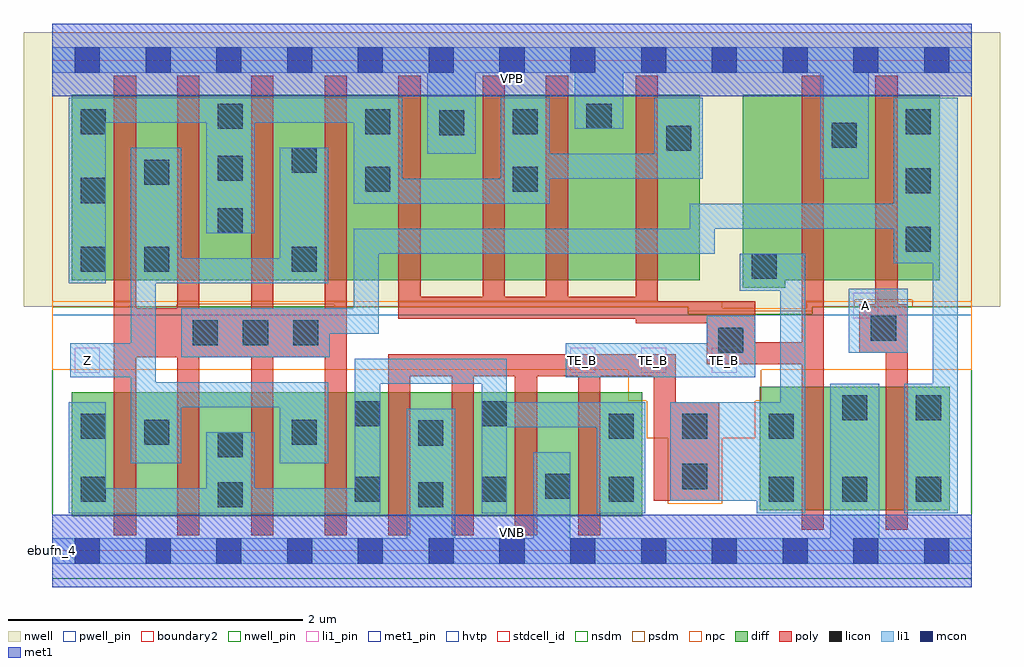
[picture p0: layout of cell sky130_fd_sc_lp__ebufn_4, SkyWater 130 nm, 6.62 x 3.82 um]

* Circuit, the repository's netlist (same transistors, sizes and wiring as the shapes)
* Copyright 2020 The SkyWater PDK Authors
*
* Licensed under the Apache License, Version 2.0 (the "License");
* you may not use this file except in compliance with the License.
* You may obtain a copy of the License at
*
*     https://www.apache.org/licenses/LICENSE-2.0
*
* Unless required by applicable law or agreed to in writing, software
* distributed under the License is distributed on an "AS IS" BASIS,
* WITHOUT WARRANTIES OR CONDITIONS OF ANY KIND, either express or implied.
* See the License for the specific language governing permissions and
* limitations under the License.
*
* SPDX-License-Identifier: Apache-2.0

.SUBCKT sky130_fd_sc_lp__ebufn_4 A TE_B VGND VNB VPB VPWR Z
*.PININFO A:I TE_B:I VGND:I VNB:I VPB:I VPWR:I Z:O
MMN0 Z net39 sndA VNB sky130_fd_pr__nfet_01v8 m=4 w=0.84U l=0.15U mult=1 sa=0.265
+ sb=0.265 sd=0.28 area=0.063 perim=1.14
MMN1 sndA net43 VGND VNB sky130_fd_pr__nfet_01v8 m=4 w=0.84U l=0.15U mult=1 sa=0.265
+ sb=0.265 sd=0.28 area=0.063 perim=1.14
MMIN1 net43 TE_B VGND VNB sky130_fd_pr__nfet_01v8 m=1 w=0.84U l=0.15U mult=1 sa=0.265
+ sb=0.265 sd=0.28 area=0.063 perim=1.14
MI6 net39 A VGND VNB sky130_fd_pr__nfet_01v8 m=1 w=0.84U l=0.15U mult=1 sa=0.265
+ sb=0.265 sd=0.28 area=0.063 perim=1.14
MMP0 VPWR TE_B sndTEB VPB sky130_fd_pr__pfet_01v8_hvt m=4 w=1.26U l=0.15U mult=1
+ sa=0.265 sb=0.265 sd=0.28 area=0.063 perim=1.14
MMP1 sndTEB net39 Z VPB sky130_fd_pr__pfet_01v8_hvt m=4 w=1.26U l=0.15U mult=1
+ sa=0.265 sb=0.265 sd=0.28 area=0.063 perim=1.14
MMIP1 net43 TE_B VPWR VPB sky130_fd_pr__pfet_01v8_hvt m=1 w=1.26U l=0.15U mult=1
+ sa=0.265 sb=0.265 sd=0.28 area=0.063 perim=1.14
MI5 net39 A VPWR VPB sky130_fd_pr__pfet_01v8_hvt m=1 w=1.26U l=0.15U mult=1 sa=0.265
+ sb=0.265 sd=0.28 area=0.063 perim=1.14
.ENDS sky130_fd_sc_lp__ebufn_4

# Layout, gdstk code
import gdstk
lib = gdstk.Library(unit=1e-6, precision=1e-09)
def R(c, l, rs):  # rectangles x0, y0, x1, y1
    for r in rs: c.add(gdstk.rectangle(r[:2], r[2:], *l))
def A(c, l, x, y, w, h, nx, ny, dx, dy):  # array of equal rectangles
    R(c, l, [(x+i*dx, y+j*dy, x+i*dx+w, y+j*dy+h) for i in range(nx) for j in range(ny)])
def P(c, l, *ps):  # polygons
    for p in ps: c.add(gdstk.Polygon(p, *l))
nwell_pin = (64, 16)
nwell = (64, 20)
diff = (65, 20)
poly = (66, 20)
licon = (66, 44)
li1_pin = (67, 16)
li1 = (67, 20)
mcon = (67, 44)
met1_pin = (68, 16)
met1 = (68, 20)
hvtp = (78, 44)
stdcell_id = (81, 4)
nsdm = (93, 44)
psdm = (94, 20)
npc = (95, 20)
pwell_pin = (122, 16)
boundary2 = (236, 0)

sky130_fd_sc_lp__ebufn_4 = lib.new_cell('sky130_fd_sc_lp__ebufn_4')
R(sky130_fd_sc_lp__ebufn_4, nwell_pin, [(0,3.085,6.24,3.33)])
P(sky130_fd_sc_lp__ebufn_4, nwell, [(6.43,3.52),(-0.19,3.52),(-0.19,1.655),(4.315,1.655),(4.315,1.605),(5.155,1.605),(5.155,1.655),(6.43,1.655)])
R(sky130_fd_sc_lp__ebufn_4, diff, [(0.135,0.235,4.005,1.075), (4.8,0.275,6.09,1.115), (0.135,1.835,4.395,3.095)])
P(sky130_fd_sc_lp__ebufn_4, diff, [(6.02,3.095),(4.685,3.095),(4.685,1.785),(4.975,1.785),(4.975,1.835),(6.02,1.835)])
P(sky130_fd_sc_lp__ebufn_4, poly, [(2,3.225),(1.85,3.225),(1.85,1.645),(1.5,1.645),(1.5,3.225),(1.35,3.225),(1.35,1.645),(1,1.645),(1,3.225),(0.85,3.225),(0.85,1.645),(0.57,1.645),(0.57,3.225),(0.42,3.225),(0.42,0.105),(0.57,0.105),(0.57,1.315),(0.85,1.315),(0.85,0.105),(1,0.105),(1,1.315),(1.35,1.315),(1.35,0.105),(1.5,0.105),(1.5,1.315),(1.85,1.315),(1.85,0.105),(2,0.105)],
  [(4.525,1.01),(4.23,1.01),(4.23,1.335),(2.28,1.335),(2.28,0.105),(2.43,0.105),(2.43,1.185),(2.71,1.185),(2.71,0.105),(2.86,0.105),(2.86,1.185),(3.14,1.185),(3.14,0.105),(3.29,0.105),(3.29,1.185),(3.57,1.185),(3.57,0.105),(3.72,0.105),(3.72,1.185),(4.08,1.185),(4.08,0.34),(4.525,0.34)],
  [(5.235,3.225),(5.085,3.225),(5.085,1.415),(4.77,1.415),(4.77,1.695),(4.11,1.695),(4.11,3.225),(3.96,3.225),(3.96,1.725),(3.5,1.725),(3.5,3.225),(3.35,3.225),(3.35,1.725),(3.07,1.725),(3.07,3.225),(2.92,3.225),(2.92,1.725),(2.5,1.725),(2.5,3.225),(2.35,3.225),(2.35,1.575),(3.96,1.575),(3.96,1.545),(4.44,1.545),(4.44,1.265),(5.085,1.265),(5.085,0.145),(5.235,0.145)],
  [(5.805,1.675),(5.735,1.675),(5.735,3.225),(5.585,3.225),(5.585,1.675),(5.475,1.675),(5.475,1.345),(5.655,1.345),(5.655,0.145),(5.805,0.145)])
A(sky130_fd_sc_lp__ebufn_4, licon, 2.055, 0.335, 0.17, 0.17, 3, 1, 0.86, 0)
A(sky130_fd_sc_lp__ebufn_4, licon, 4.86, 0.335, 0.17, 0.17, 3, 1, 0.5, 0)
A(sky130_fd_sc_lp__ebufn_4, licon, 0.955, 1.395, 0.17, 0.17, 3, 1, 0.34, 0)
A(sky130_fd_sc_lp__ebufn_4, licon, 0.195, 1.895, 0.17, 0.17, 1, 3, 0, 0.465)
A(sky130_fd_sc_lp__ebufn_4, licon, 1.125, 2.155, 0.17, 0.17, 1, 3, 0, 0.355)
R(sky130_fd_sc_lp__ebufn_4, licon, [(1.125,0.295,1.295,0.465), (2.485,0.295,2.655,0.465), (0.195,0.335,0.365,0.505), (3.345,0.355,3.515,0.525), (4.275,0.42,4.445,0.59), (1.125,0.635,1.295,0.805), (2.485,0.715,2.655,0.885), (0.625,0.72,0.795,0.89), (1.625,0.72,1.795,0.89), (0.195,0.76,0.365,0.93), (3.775,0.76,3.945,0.93), (4.275,0.76,4.445,0.93), (4.86,0.76,5.03,0.93), (2.055,0.845,2.225,1.015), (2.915,0.845,3.085,1.015), (5.36,0.885,5.53,1.055), (5.86,0.885,6.03,1.055), (4.52,1.345,4.69,1.515), (5.555,1.425,5.725,1.595), (4.745,1.845,4.915,2.015), (0.625,1.895,0.795,2.065), (1.625,1.895,1.795,2.065), (5.79,2.03,5.96,2.2), (5.79,2.425,5.96,2.595), (2.125,2.435,2.295,2.605), (3.125,2.435,3.295,2.605), (0.625,2.485,0.795,2.655), (1.625,2.565,1.795,2.735), (4.165,2.715,4.335,2.885), (5.29,2.735,5.46,2.905), (2.625,2.82,2.795,2.99), (2.125,2.825,2.295,2.995), (3.125,2.825,3.295,2.995), (5.79,2.825,5.96,2.995), (3.625,2.865,3.795,3.035)])
A(sky130_fd_sc_lp__ebufn_4, li1_pin, 3.515, 1.21, 0.17, 0.17, 3, 1, 0.48, 0)
R(sky130_fd_sc_lp__ebufn_4, li1_pin, [(0.155,1.21,0.325,1.38), (5.435,1.58,5.605,1.75)])
R(sky130_fd_sc_lp__ebufn_4, li1, [(5.405,1.345,5.805,1.78)])
P(sky130_fd_sc_lp__ebufn_4, li1, [(3.545,2.865),(3.545,3.245),(2.875,3.245),(2.875,2.695),(2.545,2.695),(2.545,3.245),(0,3.245),(0,3.415),(6.24,3.415),(6.24,3.245),(5.54,3.245),(5.54,2.525),(5.21,2.525),(5.21,3.245),(3.875,3.245),(3.875,2.865)],
  [(3.265,0.085),(3.265,0.67),(3.515,0.67),(3.515,0.085),(5.28,0.085),(5.28,1.135),(5.61,1.135),(5.61,0.085),(6.24,0.085),(6.24,-0.085),(0,-0.085),(0,0.085),(2.405,0.085),(2.405,0.965),(2.735,0.965),(2.735,0.085)],
  [(2.215,1.475),(1.885,1.475),(1.885,1.315),(0.875,1.315),(0.875,1.645),(2.045,1.645),(2.045,2.185),(4.325,2.185),(4.325,2.355),(5.71,2.355),(5.71,3.075),(6.145,3.075),(6.145,0.255),(5.78,0.255),(5.78,1.135),(5.975,1.135),(5.975,1.95),(5.71,1.95),(5.71,2.185),(4.495,2.185),(4.495,2.015),(2.215,2.015)],
  [(4.195,0.34),(4.195,1.01),(4.94,1.01),(4.94,1.765),(4.665,1.765),(4.665,2.015),(5.11,2.015),(5.11,0.255),(4.78,0.255),(4.78,0.34)],
  [(4.44,1.41),(4.44,1.595),(4.77,1.595),(4.77,1.18),(3.485,1.18),(3.485,1.41)],
  [(0.535,0.595),(0.535,1.18),(0.125,1.18),(0.125,1.41),(0.535,1.41),(0.535,2.735),(0.875,2.735),(0.875,1.985),(1.545,1.985),(1.545,2.735),(1.875,2.735),(1.875,1.815),(0.705,1.815),(0.705,1.145),(1.875,1.145),(1.875,0.595),(1.545,0.595),(1.545,0.975),(0.875,0.975),(0.875,0.595)],
  [(1.045,0.425),(1.045,0.805),(1.375,0.805),(1.375,0.425),(2.055,0.425),(2.055,1.305),(3.085,1.305),(3.085,1.01),(4.025,1.01),(4.025,0.255),(3.695,0.255),(3.695,0.84),(3.085,0.84),(3.085,0.255),(2.915,0.255),(2.915,1.135),(2.225,1.135),(2.225,0.255),(0.115,0.255),(0.115,1.01),(0.365,1.01),(0.365,0.425)],
  [(0.115,1.815),(0.115,3.075),(2.375,3.075),(2.375,2.525),(3.045,2.525),(3.045,3.075),(3.375,3.075),(3.375,2.695),(4.085,2.695),(4.085,3.075),(4.415,3.075),(4.415,2.525),(3.375,2.525),(3.375,2.355),(2.045,2.355),(2.045,2.905),(1.375,2.905),(1.375,2.155),(1.045,2.155),(1.045,2.905),(0.365,2.905),(0.365,1.815)])
A(sky130_fd_sc_lp__ebufn_4, mcon, 0.155, -0.085, 0.17, 0.17, 13, 2, 0.48, 3.33)
R(sky130_fd_sc_lp__ebufn_4, met1_pin, [(0,0,6.24,0.245), (0,3.085,6.24,3.33)])
R(sky130_fd_sc_lp__ebufn_4, met1, [(0,-0.245,6.24,0.245), (0,3.085,6.24,3.575)])
R(sky130_fd_sc_lp__ebufn_4, hvtp, [(0,1.6,6.24,3.33)])
R(sky130_fd_sc_lp__ebufn_4, stdcell_id, [(0,0,6.24,3.33)])
P(sky130_fd_sc_lp__ebufn_4, nsdm, [(6.24,1.655),(5.155,1.655),(5.155,1.605),(4.315,1.605),(4.315,1.655),(0,1.655),(0,-0.19),(6.24,-0.19)])
P(sky130_fd_sc_lp__ebufn_4, psdm, [(6.24,3.52),(0,3.52),(0,1.655),(0.845,1.655),(0.845,1.675),(1.915,1.675),(1.915,1.655),(4.315,1.655),(4.315,1.625),(5.155,1.625),(5.155,1.655),(5.445,1.655),(5.445,1.705),(5.835,1.705),(5.835,1.655),(6.24,1.655)])
P(sky130_fd_sc_lp__ebufn_4, npc, [(6.24,1.695),(5.115,1.695),(5.115,1.645),(4.545,1.645),(4.545,1.695),(0,1.695),(0,1.23),(3.91,1.23),(3.91,1.02),(4.035,1.02),(4.035,0.765),(4.175,0.765),(4.175,0.32),(4.545,0.32),(4.545,0.765),(4.77,0.765),(4.77,1.02),(4.81,1.02),(4.81,1.23),(6.24,1.23)])
R(sky130_fd_sc_lp__ebufn_4, pwell_pin, [(0,0,6.24,0.245)])
R(sky130_fd_sc_lp__ebufn_4, boundary2, [(0,0,6.24,3.33)])
sky130_fd_sc_lp__ebufn_4.add(gdstk.Label('VNB', (3.12,0.123), layer=64, texttype=59))
sky130_fd_sc_lp__ebufn_4.add(gdstk.Label('VPB', (3.12,3.208), layer=64, texttype=5))
sky130_fd_sc_lp__ebufn_4.add(gdstk.Label('ebufn_4', (0,0), layer=83, texttype=44))
sky130_fd_sc_lp__ebufn_4.add(gdstk.Label('VPWR', (3.12,3.208), layer=68, texttype=5))
sky130_fd_sc_lp__ebufn_4.add(gdstk.Label('VGND', (3.12,0.123), layer=68, texttype=5))
sky130_fd_sc_lp__ebufn_4.add(gdstk.Label('TE_B', (3.6,1.295), layer=67, texttype=5))
sky130_fd_sc_lp__ebufn_4.add(gdstk.Label('TE_B', (4.08,1.295), layer=67, texttype=5))
sky130_fd_sc_lp__ebufn_4.add(gdstk.Label('TE_B', (4.56,1.295), layer=67, texttype=5))
sky130_fd_sc_lp__ebufn_4.add(gdstk.Label('A', (5.52,1.665), layer=67, texttype=5))
sky130_fd_sc_lp__ebufn_4.add(gdstk.Label('Z', (0.24,1.295), layer=67, texttype=5))

lib.write_gds('sky130_fd_sc_lp__ebufn_4.gds')
